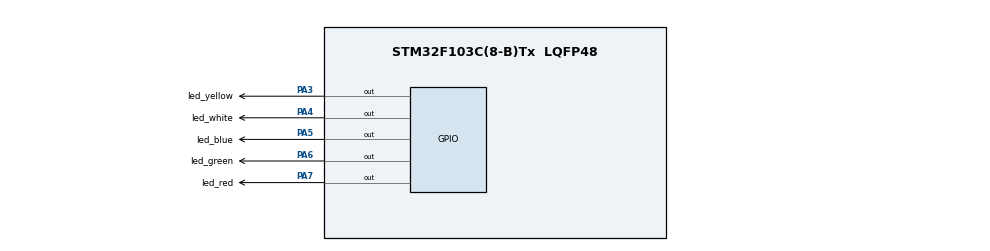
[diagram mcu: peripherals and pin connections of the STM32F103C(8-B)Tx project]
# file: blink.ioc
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Mcu.Family=STM32F1
Mcu.Name=STM32F103C(8-B)Tx
Mcu.Package=LQFP48
NVIC.PriorityGroup=NVIC_PRIORITYGROUP_4
PA3.GPIO_Label=led_yellow
PA3.Signal=GPIO_Output
PA4.GPIO_Label=led_white
PA4.Signal=GPIO_Output
PA5.GPIO_Label=led_blue
PA5.Signal=GPIO_Output
PA6.GPIO_Label=led_green
PA6.Signal=GPIO_Output
PA7.GPIO_Label=led_red
PA7.Signal=GPIO_Output
ProjectManager.HeapSize=0x200
ProjectManager.StackSize=0x400
ProjectManager.TargetToolchain=STM32CubeIDE
RCC.APB1Freq_Value=8000000
RCC.APB2Freq_Value=8000000
board=custom

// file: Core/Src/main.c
/* USER CODE BEGIN Header */
/**
  ******************************************************************************
  * @file           : main.c
  * @brief          : Main program body
  ******************************************************************************
  * @attention
  *
  * Copyright (c) 2026 STMicroelectronics.
  * All rights reserved.
  *
  * This software is licensed under terms that can be found in the LICENSE file
  * in the root directory of this software component.
  * If no LICENSE file comes with this software, it is provided AS-IS.
  *
  ******************************************************************************
  */
/* USER CODE END Header */
#include "main.h"

void SystemClock_Config(void);
static void MX_GPIO_Init(void);

int main(void)
{

  /* MCU Configuration--------------------------------------------------------*/

  /* Reset of all peripherals, Initializes the Flash interface and the Systick. */
  HAL_Init();

  /* Configure the system clock */
  SystemClock_Config();

  /* Initialize all configured peripherals */
  MX_GPIO_Init();
  /* USER CODE BEGIN 2 */
  int state = 0;
  /* USER CODE END 2 */

  /* Infinite loop */
  /* USER CODE BEGIN WHILE */
  while (1)
  {
	  if (state == 0)
	        {
	            HAL_GPIO_WritePin(led_yellow_GPIO_Port, led_yellow_Pin, GPIO_PIN_SET);
	        }
	        else
	        {
	            HAL_GPIO_WritePin(led_yellow_GPIO_Port, led_yellow_Pin, GPIO_PIN_RESET);
	        }

	        if (state == 1 )
	        {
	            HAL_GPIO_WritePin(led_white_GPIO_Port, led_white_Pin, GPIO_PIN_SET);
	        }
	        else
	        {
	            HAL_GPIO_WritePin(led_white_GPIO_Port, led_white_Pin, GPIO_PIN_RESET);
	        }

	        if (state == 2)
	        {
	            HAL_GPIO_WritePin(led_blue_GPIO_Port, led_blue_Pin, GPIO_PIN_SET);
	        }
	        else
	        {
	            HAL_GPIO_WritePin(led_blue_GPIO_Port, led_blue_Pin, GPIO_PIN_RESET);
	        }

	        if (state == 3)
	        {
	            HAL_GPIO_WritePin(led_green_GPIO_Port, led_green_Pin, GPIO_PIN_SET);
	        }
	        else
	        {
	            HAL_GPIO_WritePin(led_green_GPIO_Port, led_green_Pin, GPIO_PIN_RESET);
	        }

	        if (state == 4)
	        {
	        	HAL_GPIO_WritePin(led_red_GPIO_Port, led_red_Pin, GPIO_PIN_SET);
	        }
	        else
	        {
	        	 HAL_GPIO_WritePin(led_red_GPIO_Port, led_red_Pin, GPIO_PIN_RESET);
	        }
	      HAL_Delay(1000);

	      state++;
	      if(state > 4)
	      {
	          state = 0;
	      }
    /* USER CODE END WHILE */

 }
}

void SystemClock_Config(void)
{
  RCC_OscInitTypeDef RCC_OscInitStruct = {0};
  RCC_ClkInitTypeDef RCC_ClkInitStruct = {0};

  /** Initializes the RCC Oscillators according to the specified parameters
  * in the RCC_OscInitTypeDef structure.
  */
  RCC_OscInitStruct.OscillatorType = RCC_OSCILLATORTYPE_HSI;
  RCC_OscInitStruct.HSIState = RCC_HSI_ON;
  RCC_OscInitStruct.HSICalibrationValue = RCC_HSICALIBRATION_DEFAULT;
  RCC_OscInitStruct.PLL.PLLState = RCC_PLL_NONE;
  if (HAL_RCC_OscConfig(&RCC_OscInitStruct) != HAL_OK)
  {
    Error_Handler();
  }

  /** Initializes the CPU, AHB and APB buses clocks
  */
  RCC_ClkInitStruct.ClockType = RCC_CLOCKTYPE_HCLK|RCC_CLOCKTYPE_SYSCLK
                              |RCC_CLOCKTYPE_PCLK1|RCC_CLOCKTYPE_PCLK2;
  RCC_ClkInitStruct.SYSCLKSource = RCC_SYSCLKSOURCE_HSI;
  RCC_ClkInitStruct.AHBCLKDivider = RCC_SYSCLK_DIV1;
  RCC_ClkInitStruct.APB1CLKDivider = RCC_HCLK_DIV1;
  RCC_ClkInitStruct.APB2CLKDivider = RCC_HCLK_DIV1;

  if (HAL_RCC_ClockConfig(&RCC_ClkInitStruct, FLASH_LATENCY_0) != HAL_OK)
  {
    Error_Handler();
  }
}

static void MX_GPIO_Init(void)
{
  GPIO_InitTypeDef GPIO_InitStruct = {0};

  /* GPIO Ports Clock Enable */
  __HAL_RCC_GPIOA_CLK_ENABLE();

  /*Configure GPIO pin Output Level */
  HAL_GPIO_WritePin(GPIOA, led_yellow_Pin|led_white_Pin|led_blue_Pin|led_green_Pin
                          |led_red_Pin, GPIO_PIN_RESET);

  /*Configure GPIO pins : led_yellow_Pin led_white_Pin led_blue_Pin led_green_Pin
                           led_red_Pin */
  GPIO_InitStruct.Pin = led_yellow_Pin|led_white_Pin|led_blue_Pin|led_green_Pin
                          |led_red_Pin;
  GPIO_InitStruct.Mode = GPIO_MODE_OUTPUT_PP;
  GPIO_InitStruct.Pull = GPIO_NOPULL;
  GPIO_InitStruct.Speed = GPIO_SPEED_FREQ_LOW;
  HAL_GPIO_Init(GPIOA, &GPIO_InitStruct);

}

void Error_Handler(void)
{
  __disable_irq();
  while (1)
  {
  }
}
